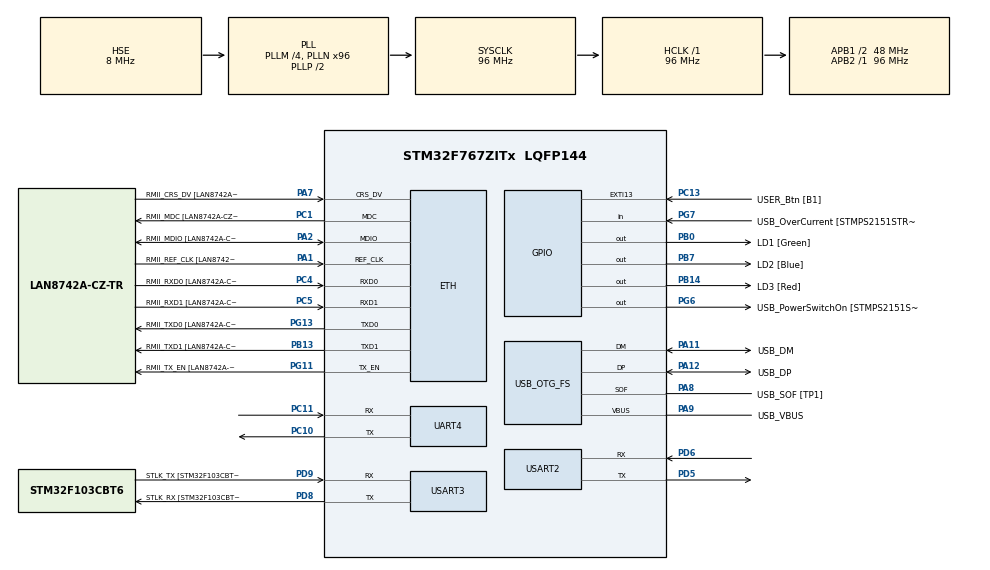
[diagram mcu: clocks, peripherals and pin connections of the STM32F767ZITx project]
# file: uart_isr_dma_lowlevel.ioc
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Dma.Request0=USART2_RX
Dma.USART2_RX.0.Direction=DMA_PERIPH_TO_MEMORY
Dma.USART2_RX.0.FIFOMode=DMA_FIFOMODE_DISABLE
Dma.USART2_RX.0.Instance=DMA1_Stream5
Dma.USART2_RX.0.MemDataAlignment=DMA_MDATAALIGN_BYTE
Dma.USART2_RX.0.MemInc=DMA_MINC_ENABLE
Dma.USART2_RX.0.Mode=DMA_NORMAL
Dma.USART2_RX.0.PeriphDataAlignment=DMA_PDATAALIGN_BYTE
Dma.USART2_RX.0.PeriphInc=DMA_PINC_DISABLE
Dma.USART2_RX.0.Priority=DMA_PRIORITY_LOW
ETH.MediaInterface=HAL_ETH_RMII_MODE
ETH.PHY_Name=LAN8742A_PHY_ADDRESS
ETH.PHY_Value=0
ETH.PhyAddress=0
FREERTOS.Tasks01=defaultTask,24,128,StartDefaultTask,Default,NULL,Dynamic,NULL,NULL;uartPrintTask,8,128,uartPrintTaskEntry,Default,NULL,Dynamic,NULL,NULL
FREERTOS.Timers01=startUart4Traffic,startUart4TrafficEntry,osTimerOnce,Default,NULL,Dynamic,NULL;uart4Send,uart4SendEntry,osTimerPeriodic,Default,NULL,Dynamic,NULL
FREERTOS.configUSE_NEWLIB_REENTRANT=1
Mcu.Family=STM32F7
Mcu.Name=STM32F767ZITx
Mcu.Package=LQFP144
NVIC.DMA1_Stream5_IRQn=true\:5\:0\:false\:false\:true\:true\:false\:true\:true
NVIC.PriorityGroup=NVIC_PRIORITYGROUP_4
NVIC.TIM1_UP_TIM10_IRQn=true\:15\:0\:false\:false\:true\:false\:false\:true\:true
NVIC.TimeBase=TIM1_UP_TIM10_IRQn
NVIC.TimeBaseIP=TIM1
NVIC.USART2_IRQn=true\:5\:0\:false\:false\:true\:true\:true\:true\:true
PA1.GPIO_Label=RMII_REF_CLK [LAN8742A-CZ-TR_REFCLK0]
PA1.Mode=RMII
PA1.Signal=ETH_REF_CLK
PA10.GPIO_Label=USB_ID
PA10.Signal=USB_OTG_FS_ID
PA11.GPIO_Label=USB_DM
PA11.Mode=Device_Only
PA11.Signal=USB_OTG_FS_DM
PA12.GPIO_Label=USB_DP
PA12.Mode=Device_Only
PA12.Signal=USB_OTG_FS_DP
PA13.GPIO_Label=TMS
PA13.Mode=Serial_Wire
PA13.Signal=SYS_JTMS-SWDIO
PA14.GPIO_Label=TCK
PA14.Mode=Serial_Wire
PA14.Signal=SYS_JTCK-SWCLK
PA2.GPIO_Label=RMII_MDIO [LAN8742A-CZ-TR_MDIO]
PA2.Mode=RMII
PA2.Signal=ETH_MDIO
PA7.GPIO_Label=RMII_CRS_DV [LAN8742A-CZ-TR_CRS_DV]
PA7.Mode=RMII
PA7.Signal=ETH_CRS_DV
PA8.GPIO_Label=USB_SOF [TP1]
PA8.Mode=Activate_SOF_FS
PA8.Signal=USB_OTG_FS_SOF
PA9.GPIO_Label=USB_VBUS
PA9.Mode=Activate_VBUS
PA9.Signal=USB_OTG_FS_VBUS
PB0.GPIO_Label=LD1 [Green]
PB0.Signal=GPIO_Output
PB13.GPIO_Label=RMII_TXD1 [LAN8742A-CZ-TR_TXD1]
PB13.Mode=RMII
PB13.Signal=ETH_TXD1
PB14.GPIO_Label=LD3 [Red]
PB14.Signal=GPIO_Output
PB3.GPIO_Label=SWO
PB3.Signal=SYS_JTDO-SWO
PB7.GPIO_Label=LD2 [Blue]
PB7.Signal=GPIO_Output
PC1.GPIO_Label=RMII_MDC [LAN8742A-CZ-TR_MDC]
PC1.Mode=RMII
PC1.Signal=ETH_MDC
PC10.Mode=Asynchronous
PC10.Signal=UART4_TX
PC11.Mode=Asynchronous
PC11.Signal=UART4_RX
PC13.GPIO_Label=USER_Btn [B1]
PC13.Signal=GPXTI13
PC14/OSC32_IN.Mode=LSE-External-Oscillator
PC14/OSC32_IN.Signal=RCC_OSC32_IN
PC15/OSC32_OUT.Mode=LSE-External-Oscillator
PC15/OSC32_OUT.Signal=RCC_OSC32_OUT
PC4.GPIO_Label=RMII_RXD0 [LAN8742A-CZ-TR_RXD0]
PC4.Mode=RMII
PC4.Signal=ETH_RXD0
PC5.GPIO_Label=RMII_RXD1 [LAN8742A-CZ-TR_RXD1]
PC5.Mode=RMII
PC5.Signal=ETH_RXD1
PD5.Mode=Asynchronous
PD5.Signal=USART2_TX
PD6.Mode=Asynchronous
PD6.Signal=USART2_RX
PD8.GPIO_Label=STLK_RX [STM32F103CBT6_PA3]
PD8.Mode=Asynchronous
PD8.Signal=USART3_TX
PD9.GPIO_Label=STLK_TX [STM32F103CBT6_PA2]
PD9.Mode=Asynchronous
PD9.Signal=USART3_RX
PG11.GPIO_Label=RMII_TX_EN [LAN8742A-CZ-TR_TXEN]
PG11.Mode=RMII
PG11.Signal=ETH_TX_EN
PG13.GPIO_Label=RMII_TXD0 [LAN8742A-CZ-TR_TXD0]
PG13.Mode=RMII
PG13.Signal=ETH_TXD0
PG6.GPIO_Label=USB_PowerSwitchOn [STMPS2151STR_EN]
PG6.Signal=GPIO_Output
PG7.GPIO_Label=USB_OverCurrent [STMPS2151STR_FAULT]
PG7.Signal=GPIO_Input
PH0/OSC_IN.GPIO_Label=MCO [STM32F103CBT6_PA8]
PH0/OSC_IN.Mode=HSE-External-Clock-Source
PH0/OSC_IN.Signal=RCC_OSC_IN
PH1/OSC_OUT.Mode=HSE-External-Clock-Source
PH1/OSC_OUT.Signal=RCC_OSC_OUT
ProjectManager.HeapSize=0x200
ProjectManager.StackSize=0x400
ProjectManager.TargetToolchain=STM32CubeIDE
RCC.48MHZClocksFreq_Value=24000000
RCC.AHBFreq_Value=96000000
RCC.APB1CLKDivider=RCC_HCLK_DIV2
RCC.APB1Freq_Value=48000000
RCC.APB1TimFreq_Value=96000000
RCC.APB2Freq_Value=96000000
RCC.APB2TimFreq_Value=96000000
RCC.CortexFreq_Value=96000000
RCC.HCLKFreq_Value=96000000
RCC.HSE_VALUE=8000000
RCC.HSI_VALUE=16000000
RCC.PLLM=4
RCC.PLLMUL=RCC_PLL_MUL9
RCC.PLLN=96
RCC.PLLQ=4
RCC.PRESCALERUSB=RCC_USBCLKSOURCE_PLL_DIV1_5
RCC.SYSCLKFreq_VALUE=96000000
RCC.SYSCLKSource=RCC_SYSCLKSOURCE_PLLCLK
RCC.SYSCLKSourceVirtual=RCC_SYSCLKSOURCE_PLLCLK
RCC.USBFreq_Value=48000000
RCC.VCOOutputFreq_Value=192000000
USART2.VirtualMode-Asynchronous=VM_ASYNC
USART3.VirtualMode-Asynchronous=VM_ASYNC
USB_OTG_FS.VirtualMode=Device_Only
VP_FREERTOS_VS_CMSIS_V2.Mode=CMSIS_V2
VP_SYS_VS_tim1.Mode=TIM1
board=NUCLEO-F767ZI

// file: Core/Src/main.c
/* USER CODE BEGIN Header */
/**
  ******************************************************************************
  * @file           : main.c
  * @brief          : Main program body
  ******************************************************************************
  * @attention
  *
  * Copyright (c) 2023 STMicroelectronics.
  * All rights reserved.
  *
  * This software is licensed under terms that can be found in the LICENSE file
  * in the root directory of this software component.
  * If no LICENSE file comes with this software, it is provided AS-IS.
  *
  ******************************************************************************
  */
/* USER CODE END Header */
#include "main.h"
#include "string.h"
#include "cmsis_os.h"

/* USER CODE BEGIN Includes */
#include <SEGGER_SYSVIEW.h>
#include <stream_buffer.h>
/* USER CODE END Includes */

/* USER CODE BEGIN PTD */
#define bool _Bool
#define	false	0
#define	true	1
static DMA_HandleTypeDef usart2DmaRx;
static bool rxInProgress = false;
static uint_fast16_t rxLen = 0;
static uint8_t expectedLen = 16;
static uint8_t rxData[20];
static StreamBufferHandle_t rxStream = NULL;

/* USER CODE END PTD */

/* USER CODE BEGIN PD */
static const uint8_t uart4Msg[14] = "data data data";
static uint8_t uart2dmaMsg[1];
uint8_t UART2_rxBuffer[12] = {0};
/* USER CODE END PD */

#if defined ( __ICCARM__ ) /*!< IAR Compiler */
#pragma location=0x2007c000
ETH_DMADescTypeDef  DMARxDscrTab[ETH_RX_DESC_CNT]; /* Ethernet Rx DMA Descriptors */
#pragma location=0x2007c0a0
ETH_DMADescTypeDef  DMATxDscrTab[ETH_TX_DESC_CNT]; /* Ethernet Tx DMA Descriptors */

#elif defined ( __CC_ARM )  /* MDK ARM Compiler */

__attribute__((at(0x2007c000))) ETH_DMADescTypeDef  DMARxDscrTab[ETH_RX_DESC_CNT]; /* Ethernet Rx DMA Descriptors */
__attribute__((at(0x2007c0a0))) ETH_DMADescTypeDef  DMATxDscrTab[ETH_TX_DESC_CNT]; /* Ethernet Tx DMA Descriptors */

#elif defined ( __GNUC__ ) /* GNU Compiler */
ETH_DMADescTypeDef DMARxDscrTab[ETH_RX_DESC_CNT] __attribute__((section(".RxDecripSection"))); /* Ethernet Rx DMA Descriptors */
ETH_DMADescTypeDef DMATxDscrTab[ETH_TX_DESC_CNT] __attribute__((section(".TxDecripSection")));   /* Ethernet Tx DMA Descriptors */

#endif

ETH_TxPacketConfig TxConfig;

ETH_HandleTypeDef heth;

UART_HandleTypeDef huart4;
UART_HandleTypeDef huart2;
UART_HandleTypeDef huart3;
DMA_HandleTypeDef hdma_usart2_rx;

PCD_HandleTypeDef hpcd_USB_OTG_FS;

/* Definitions for defaultTask */
osThreadId_t defaultTaskHandle;
const osThreadAttr_t defaultTask_attributes = {
  .name = "defaultTask",
  .stack_size = 128 * 4,
  .priority = (osPriority_t) osPriorityNormal,
};
/* Definitions for uartPrintTask */
osThreadId_t uartPrintTaskHandle;
const osThreadAttr_t uartPrintTask_attributes = {
  .name = "uartPrintTask",
  .stack_size = 128 * 4,
  .priority = (osPriority_t) osPriorityLow,
};
/* Definitions for startUart4Traffic */
osTimerId_t startUart4TrafficHandle;
const osTimerAttr_t startUart4Traffic_attributes = {
  .name = "startUart4Traffic"
};
/* Definitions for uart4Send */
osTimerId_t uart4SendHandle;
const osTimerAttr_t uart4Send_attributes = {
  .name = "uart4Send"
};

void SystemClock_Config(void);
static void MX_GPIO_Init(void);
static void MX_DMA_Init(void);
static void MX_USART3_UART_Init(void);
static void MX_USB_OTG_FS_PCD_Init(void);
static void MX_UART4_Init(void);
static void MX_ETH_Init(void);
static void MX_USART2_UART_Init(void);
void StartDefaultTask(void *argument);
void uartPrintTaskEntry(void *argument);
void startUart4TrafficEntry(void *argument);
void uart4SendEntry(void *argument);
void uartPrintOutTask(void *argument);

int main(void)
{

  /* MCU Configuration--------------------------------------------------------*/

  /* Reset of all peripherals, Initializes the Flash interface and the Systick. */
  HAL_Init();

  /* USER CODE BEGIN Init */
  SEGGER_SYSVIEW_Conf();
  NVIC_SetPriorityGrouping(0);
  /* USER CODE END Init */

  /* Configure the system clock */
  SystemClock_Config();

  /* Initialize all configured peripherals */
  MX_GPIO_Init();
  MX_DMA_Init();
  MX_USART3_UART_Init();
  MX_USB_OTG_FS_PCD_Init();
  MX_UART4_Init();
  MX_ETH_Init();
  MX_USART2_UART_Init();

  /* Init scheduler */
  osKernelInitialize();

  /* USER CODE BEGIN RTOS_SEMAPHORES */
  /* add semaphores, ... */
  rxStream = xStreamBufferCreate(100, 1);
  /* USER CODE END RTOS_SEMAPHORES */

  /* Create the timer(s) */
  /* creation of startUart4Traffic */
  startUart4TrafficHandle = osTimerNew(startUart4TrafficEntry, osTimerOnce, NULL, &startUart4Traffic_attributes);

  /* creation of uart4Send */
  uart4SendHandle = osTimerNew(uart4SendEntry, osTimerPeriodic, NULL, &uart4Send_attributes);

  /* USER CODE BEGIN RTOS_TIMERS */
  /* start timers, add new ones, ... */
  osTimerStart(startUart4TrafficHandle, 500 / portTICK_PERIOD_MS);
  /* USER CODE END RTOS_TIMERS */

  /* Create the thread(s) */
  /* creation of defaultTask */
  defaultTaskHandle = osThreadNew(StartDefaultTask, NULL, &defaultTask_attributes);

  /* creation of uartPrintTask */
  //uartPrintTaskHandle = osThreadNew(uartPrintTaskEntry, NULL, &uartPrintTask_attributes);
  uartPrintTaskHandle = osThreadNew(uartPrintOutTask, NULL, &uartPrintTask_attributes);

  /* USER CODE BEGIN RTOS_THREADS */
  /* add threads, ... */
  HAL_UART_Receive_DMA (&huart2, UART2_rxBuffer, 1);
  /* USER CODE END RTOS_THREADS */

  /* Start scheduler */
  osKernelStart();
  /* We should never get here as control is now taken by the scheduler */
  /* Infinite loop */
  while (1)
  {
    SEGGER_SYSVIEW_PrintfHost("problem");
  }
}

void SystemClock_Config(void)
{
  RCC_OscInitTypeDef RCC_OscInitStruct = {0};
  RCC_ClkInitTypeDef RCC_ClkInitStruct = {0};

  /** Configure LSE Drive Capability
  */
  HAL_PWR_EnableBkUpAccess();

  /** Configure the main internal regulator output voltage
  */
  __HAL_RCC_PWR_CLK_ENABLE();
  __HAL_PWR_VOLTAGESCALING_CONFIG(PWR_REGULATOR_VOLTAGE_SCALE3);

  /** Initializes the RCC Oscillators according to the specified parameters
  * in the RCC_OscInitTypeDef structure.
  */
  RCC_OscInitStruct.OscillatorType = RCC_OSCILLATORTYPE_HSE;
  RCC_OscInitStruct.HSEState = RCC_HSE_BYPASS;
  RCC_OscInitStruct.PLL.PLLState = RCC_PLL_ON;
  RCC_OscInitStruct.PLL.PLLSource = RCC_PLLSOURCE_HSE;
  RCC_OscInitStruct.PLL.PLLM = 4;
  RCC_OscInitStruct.PLL.PLLN = 96;
  RCC_OscInitStruct.PLL.PLLP = RCC_PLLP_DIV2;
  RCC_OscInitStruct.PLL.PLLQ = 4;
  RCC_OscInitStruct.PLL.PLLR = 2;
  if (HAL_RCC_OscConfig(&RCC_OscInitStruct) != HAL_OK)
  {
    Error_Handler();
  }

  /** Activate the Over-Drive mode
  */
  if (HAL_PWREx_EnableOverDrive() != HAL_OK)
  {
    Error_Handler();
  }

  /** Initializes the CPU, AHB and APB buses clocks
  */
  RCC_ClkInitStruct.ClockType = RCC_CLOCKTYPE_HCLK|RCC_CLOCKTYPE_SYSCLK
                              |RCC_CLOCKTYPE_PCLK1|RCC_CLOCKTYPE_PCLK2;
  RCC_ClkInitStruct.SYSCLKSource = RCC_SYSCLKSOURCE_PLLCLK;
  RCC_ClkInitStruct.AHBCLKDivider = RCC_SYSCLK_DIV1;
  RCC_ClkInitStruct.APB1CLKDivider = RCC_HCLK_DIV2;
  RCC_ClkInitStruct.APB2CLKDivider = RCC_HCLK_DIV1;

  if (HAL_RCC_ClockConfig(&RCC_ClkInitStruct, FLASH_LATENCY_3) != HAL_OK)
  {
    Error_Handler();
  }
}

static void MX_ETH_Init(void)
{

   static uint8_t MACAddr[6];

  heth.Instance = ETH;
  MACAddr[0] = 0x00;
  MACAddr[1] = 0x80;
  MACAddr[2] = 0xE1;
  MACAddr[3] = 0x00;
  MACAddr[4] = 0x00;
  MACAddr[5] = 0x00;
  heth.Init.MACAddr = &MACAddr[0];
  heth.Init.MediaInterface = HAL_ETH_RMII_MODE;
  heth.Init.TxDesc = DMATxDscrTab;
  heth.Init.RxDesc = DMARxDscrTab;
  heth.Init.RxBuffLen = 1524;

  if (HAL_ETH_Init(&heth) != HAL_OK)
  {
    Error_Handler();
  }

  memset(&TxConfig, 0 , sizeof(ETH_TxPacketConfig));
  TxConfig.Attributes = ETH_TX_PACKETS_FEATURES_CSUM | ETH_TX_PACKETS_FEATURES_CRCPAD;
  TxConfig.ChecksumCtrl = ETH_CHECKSUM_IPHDR_PAYLOAD_INSERT_PHDR_CALC;
  TxConfig.CRCPadCtrl = ETH_CRC_PAD_INSERT;

}

static void MX_UART4_Init(void)
{

  huart4.Instance = UART4;
  huart4.Init.BaudRate = 115200;
  huart4.Init.WordLength = UART_WORDLENGTH_8B;
  huart4.Init.StopBits = UART_STOPBITS_1;
  huart4.Init.Parity = UART_PARITY_NONE;
  huart4.Init.Mode = UART_MODE_TX_RX;
  huart4.Init.HwFlowCtl = UART_HWCONTROL_NONE;
  huart4.Init.OverSampling = UART_OVERSAMPLING_16;
  huart4.Init.OneBitSampling = UART_ONE_BIT_SAMPLE_DISABLE;
  huart4.AdvancedInit.AdvFeatureInit = UART_ADVFEATURE_NO_INIT;
  if (HAL_UART_Init(&huart4) != HAL_OK)
  {
    Error_Handler();
  }

}

static void MX_USART2_UART_Init(void)
{

  huart2.Instance = USART2;
  huart2.Init.BaudRate = 115200;
  huart2.Init.WordLength = UART_WORDLENGTH_8B;
  huart2.Init.StopBits = UART_STOPBITS_1;
  huart2.Init.Parity = UART_PARITY_NONE;
  huart2.Init.Mode = UART_MODE_TX_RX;
  huart2.Init.HwFlowCtl = UART_HWCONTROL_NONE;
  huart2.Init.OverSampling = UART_OVERSAMPLING_16;
  huart2.Init.OneBitSampling = UART_ONE_BIT_SAMPLE_DISABLE;
  huart2.AdvancedInit.AdvFeatureInit = UART_ADVFEATURE_NO_INIT;
  if (HAL_UART_Init(&huart2) != HAL_OK)
  {
    Error_Handler();
  }

}

static void MX_USART3_UART_Init(void)
{

  huart3.Instance = USART3;
  huart3.Init.BaudRate = 115200;
  huart3.Init.WordLength = UART_WORDLENGTH_8B;
  huart3.Init.StopBits = UART_STOPBITS_1;
  huart3.Init.Parity = UART_PARITY_NONE;
  huart3.Init.Mode = UART_MODE_TX_RX;
  huart3.Init.HwFlowCtl = UART_HWCONTROL_NONE;
  huart3.Init.OverSampling = UART_OVERSAMPLING_16;
  huart3.Init.OneBitSampling = UART_ONE_BIT_SAMPLE_DISABLE;
  huart3.AdvancedInit.AdvFeatureInit = UART_ADVFEATURE_NO_INIT;
  if (HAL_UART_Init(&huart3) != HAL_OK)
  {
    Error_Handler();
  }

}

static void MX_USB_OTG_FS_PCD_Init(void)
{

  hpcd_USB_OTG_FS.Instance = USB_OTG_FS;
  hpcd_USB_OTG_FS.Init.dev_endpoints = 6;
  hpcd_USB_OTG_FS.Init.speed = PCD_SPEED_FULL;
  hpcd_USB_OTG_FS.Init.dma_enable = DISABLE;
  hpcd_USB_OTG_FS.Init.phy_itface = PCD_PHY_EMBEDDED;
  hpcd_USB_OTG_FS.Init.Sof_enable = ENABLE;
  hpcd_USB_OTG_FS.Init.low_power_enable = DISABLE;
  hpcd_USB_OTG_FS.Init.lpm_enable = DISABLE;
  hpcd_USB_OTG_FS.Init.vbus_sensing_enable = ENABLE;
  hpcd_USB_OTG_FS.Init.use_dedicated_ep1 = DISABLE;
  if (HAL_PCD_Init(&hpcd_USB_OTG_FS) != HAL_OK)
  {
    Error_Handler();
  }

}

static void MX_DMA_Init(void)
{

  /* DMA controller clock enable */
  __HAL_RCC_DMA1_CLK_ENABLE();

  /* DMA interrupt init */
  /* DMA1_Stream5_IRQn interrupt configuration */
  HAL_NVIC_SetPriority(DMA1_Stream5_IRQn, 5, 0);
  HAL_NVIC_EnableIRQ(DMA1_Stream5_IRQn);
	memset(&usart2DmaRx, 0, sizeof(usart2DmaRx));
	usart2DmaRx.Instance = DMA1_Stream5;					//stream 5 is for USART2 Rx
	usart2DmaRx.Init.Channel = DMA_CHANNEL_4;				//channel 4 is for USART2 Rx/Tx
	usart2DmaRx.Init.Direction = DMA_PERIPH_TO_MEMORY;	//transfering out of memory and into the peripheral register
	usart2DmaRx.Init.FIFOMode = DMA_FIFOMODE_DISABLE;		//no fifo
	usart2DmaRx.Init.MemBurst = DMA_MBURST_SINGLE;		//transfer 1 at a time
	usart2DmaRx.Init.MemDataAlignment = DMA_MDATAALIGN_BYTE;
	usart2DmaRx.Init.MemInc = DMA_MINC_ENABLE;			//increment 1 byte at a time
	usart2DmaRx.Init.Mode = DMA_NORMAL;					//flow control mode set to normal
	usart2DmaRx.Init.PeriphBurst = DMA_PBURST_SINGLE;		//write 1 at a time to the peripheral
	usart2DmaRx.Init.PeriphInc = DMA_PINC_DISABLE;		//always keep the peripheral address the same (the RX data register is always in the same location)
	usart2DmaRx.Init.PeriphDataAlignment = DMA_PDATAALIGN_BYTE;
	usart2DmaRx.Init.Priority = DMA_PRIORITY_HIGH;
	assert_param(HAL_DMA_Init(&usart2DmaRx) == HAL_OK);

	DMA1_Stream5->CR |= DMA_SxCR_TCIE;	//enable transfer complete interrupts
	USART2->CR3 |= USART_CR3_DMAR_Msk;	//set the DMA receive mode flag in the USART

}

static void MX_GPIO_Init(void)
{
  GPIO_InitTypeDef GPIO_InitStruct = {0};

  /* GPIO Ports Clock Enable */
  __HAL_RCC_GPIOC_CLK_ENABLE();
  __HAL_RCC_GPIOH_CLK_ENABLE();
  __HAL_RCC_GPIOA_CLK_ENABLE();
  __HAL_RCC_GPIOB_CLK_ENABLE();
  __HAL_RCC_GPIOD_CLK_ENABLE();
  __HAL_RCC_GPIOG_CLK_ENABLE();

  /*Configure GPIO pin Output Level */
  HAL_GPIO_WritePin(GPIOB, LD1_Pin|LD3_Pin|LD2_Pin, GPIO_PIN_RESET);

  /*Configure GPIO pin Output Level */
  HAL_GPIO_WritePin(USB_PowerSwitchOn_GPIO_Port, USB_PowerSwitchOn_Pin, GPIO_PIN_RESET);

  /*Configure GPIO pin : USER_Btn_Pin */
  GPIO_InitStruct.Pin = USER_Btn_Pin;
  GPIO_InitStruct.Mode = GPIO_MODE_IT_RISING;
  GPIO_InitStruct.Pull = GPIO_NOPULL;
  HAL_GPIO_Init(USER_Btn_GPIO_Port, &GPIO_InitStruct);

  /*Configure GPIO pins : LD1_Pin LD3_Pin LD2_Pin */
  GPIO_InitStruct.Pin = LD1_Pin|LD3_Pin|LD2_Pin;
  GPIO_InitStruct.Mode = GPIO_MODE_OUTPUT_PP;
  GPIO_InitStruct.Pull = GPIO_NOPULL;
  GPIO_InitStruct.Speed = GPIO_SPEED_FREQ_LOW;
  HAL_GPIO_Init(GPIOB, &GPIO_InitStruct);

  /*Configure GPIO pin : USB_PowerSwitchOn_Pin */
  GPIO_InitStruct.Pin = USB_PowerSwitchOn_Pin;
  GPIO_InitStruct.Mode = GPIO_MODE_OUTPUT_PP;
  GPIO_InitStruct.Pull = GPIO_NOPULL;
  GPIO_InitStruct.Speed = GPIO_SPEED_FREQ_LOW;
  HAL_GPIO_Init(USB_PowerSwitchOn_GPIO_Port, &GPIO_InitStruct);

  /*Configure GPIO pin : USB_OverCurrent_Pin */
  GPIO_InitStruct.Pin = USB_OverCurrent_Pin;
  GPIO_InitStruct.Mode = GPIO_MODE_INPUT;
  GPIO_InitStruct.Pull = GPIO_NOPULL;
  HAL_GPIO_Init(USB_OverCurrent_GPIO_Port, &GPIO_InitStruct);

}

/* USER CODE BEGIN 4 */

void HAL_UART_RxCpltCallback(UART_HandleTypeDef *huart)
{

    //HAL_UART_Receive_DMA (&huart2, UART2_rxBuffer, 1);
    //SEGGER_SYSVIEW_PrintfHost(&UART2_rxBuffer);
}

int32_t startReceiveDMA( uint8_t* Buffer, uint_fast16_t Len )
{
	if(!rxInProgress && (Buffer != NULL))
	{
		rxInProgress = true;
		rxLen = Len;

		//get the DMA peripheral ready to receive data immediately before enabling UART
		//so there is no chance of overrun
		//dma stream enable bit must be toggled before a transfer will properly restart
		__HAL_DMA_DISABLE(&usart2DmaRx);
		MX_DMA_Init();
		if(HAL_DMA_Start(&usart2DmaRx, (uint32_t)&(USART2->RDR), (uint32_t) Buffer, Len) != HAL_OK)
		{
			return -1;
		}

		//enable the UART
		//clears error flags
		USART2->ICR |= (USART_ICR_FECF | USART_ICR_PECF |
		            	USART_ICR_NCF | USART_ICR_ORECF);
		//for this specific instance, we'll avoid enabling UART interrupts for errors since
		//we'll wind up with a lot of noise on the line (the way the ISR is written will
		//cause a transfer to terminate if there are any errors are detected, rather than simply
		//continue with what data it can).  In practice, most of the "errors" at baudrates below
		//460800 are noise detection
//		USART2->CR3 |= (USART_CR3_EIE);	//enable error interrupts
		NVIC_SetPriority(USART2_IRQn, 6);
		NVIC_EnableIRQ(USART2_IRQn);
		USART2->CR1 |= (USART_CR1_UE);
		return 0;
	}

	return -1;
}

void stopReceiveDMA( void )
{
	rxInProgress = false;
	HAL_DMA_Abort(&usart2DmaRx);
}
void uartPrintOutTask( void* NotUsed)
{
	uint8_t rxBufferedData[20];
	uint8_t numBytesReceived = 16;

	MX_DMA_Init();
	//STM_UartInit(USART2, BAUDRATE, NULL, &usart2DmaRx);
	MX_USART2_UART_Init();
	while(1)
	{
		//SEGGER_SYSVIEW_PrintfHost("Printer task");
		memset(rxBufferedData, 0, 20);
		startReceiveDMA(rxData, expectedLen);
		uint8_t numBytes = xStreamBufferReceive(	rxStream,
													rxBufferedData,
													numBytesReceived,
													100 );
		if(numBytes > 0)
		{
			SEGGER_SYSVIEW_PrintfHost("received: ");
			SEGGER_SYSVIEW_Print((char*)rxBufferedData);
		}
		else
		{
	        stopReceiveDMA();
			SEGGER_SYSVIEW_PrintfHost("timeout");
		}
	}
}

void DMA1_Stream5_IRQHandler(void)
{
  /* USER CODE BEGIN DMA1_Stream5_IRQn 0 */

	//HAL_UART_Receive_DMA(&huart2, tmpBuffer, 14);
	  HAL_DMA_IRQHandler(&hdma_usart2_rx);
	HAL_UART_Receive_DMA (&huart2, UART2_rxBuffer, 10);
	//SEGGER_SYSVIEW_PrintfHost("i");
  /* USER CODE END DMA1_Stream5_IRQn 0 */

    //SEGGER_SYSVIEW_PrintfHost(&UART2_rxBuffer);
  /* USER CODE BEGIN DMA1_Stream5_IRQn 1 */
	portBASE_TYPE xHigherPriorityTaskWoken = pdFALSE;
	SEGGER_SYSVIEW_RecordEnterISR();

	if(rxInProgress && (DMA1->HISR & DMA_HISR_TCIF5))
	{
		rxInProgress = false;
		DMA1->HIFCR |= DMA_HIFCR_CTCIF5;
		SEGGER_SYSVIEW_PrintfHost(&rxData);
		xStreamBufferSend(	rxStream,
							"t",
							1,
							100);
		xStreamBufferSendFromISR(	rxStream,
									rxData,
									expectedLen - DMA1_Stream5->NDTR,
									&xHigherPriorityTaskWoken);
	}
	SEGGER_SYSVIEW_RecordExitISR();
	portYIELD_FROM_ISR(xHigherPriorityTaskWoken);
  /* USER CODE END DMA1_Stream5_IRQn 1 */
}
/* USER CODE END 4 */

void StartDefaultTask(void *argument)
{
  /* USER CODE BEGIN 5 */
  /* Infinite loop */
  for(;;)
  {
    osDelay(1);
    //SEGGER_SYSVIEW_PrintfHost("def");
    //HAL_UART_Receive_DMA (&huart2, uart2dmaMsg, 14);
    //SEGGER_SYSVIEW_PrintfHost(&uart2dmaMsg);
  }
  /* USER CODE END 5 */
}

void uartPrintTaskEntry(void *argument)
{
  for(;;)
  {
    osDelay(1);
  }
}

/* startUart4TrafficEntry function */
void startUart4TrafficEntry(void *argument)
{
  /* USER CODE BEGIN startUart4TrafficEntry */
  osTimerStart(uart4SendHandle, 500 / portTICK_PERIOD_MS);

  /* USER CODE END startUart4TrafficEntry */
}

/* uart4SendEntry function */
void uart4SendEntry(void *argument)
{
  /* USER CODE BEGIN uart4SendEntry */
	SEGGER_SYSVIEW_PrintfHost("UART 4 Send");
	HAL_UART_Transmit(&huart4, uart4Msg, sizeof(uart4Msg), 100);

  /* USER CODE END uart4SendEntry */
}

void HAL_TIM_PeriodElapsedCallback(TIM_HandleTypeDef *htim)
{
  if (htim->Instance == TIM1) {
    HAL_IncTick();
  }
}

void Error_Handler(void)
{
  __disable_irq();
  while (1)
  {
  }
}
